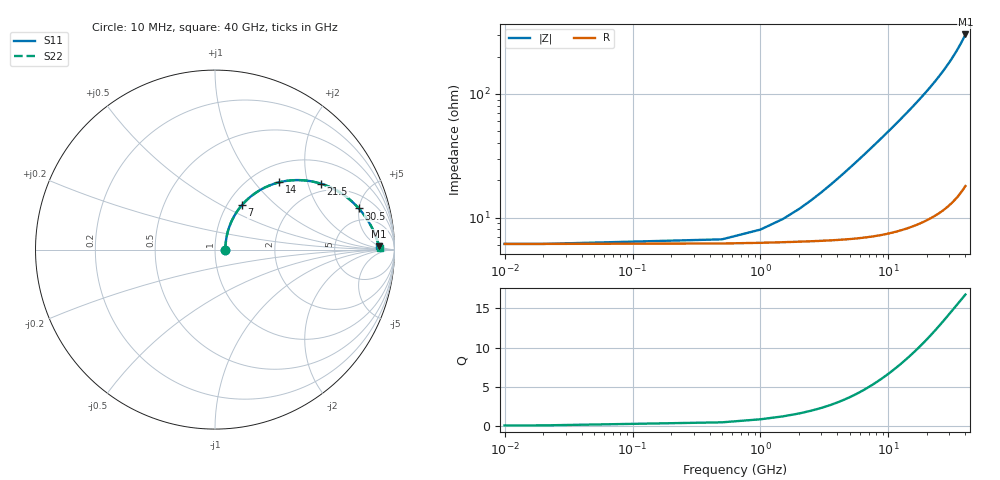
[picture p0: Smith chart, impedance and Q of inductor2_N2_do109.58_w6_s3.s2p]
#  GHZ S DB R 50
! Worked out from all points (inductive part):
!   82 points, 10 MHz to 40 GHz, reference 50 ohm
!   read as one part in series: L = 776 pH near 4.5 GHz
!   highest Q = 16.8 at 40 GHz (marker M1), where L = 1.2 nH
!   S11 on the Smith chart (normalised r, x): 10 MHz: 1.12, +0.00; 7 GHz: 1.17, +0.63; 14 GHz: 1.32, +1.35; 21.5 GHz: 1.71, +2.43; 30.5 GHz: 3.32, +4.98; 40 GHz: 21, +5
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0.01  -24.79 0.4  -0.52 -0.0  -0.52 -0.0  -24.79 0.4
0.5  -24.22 18.6  -0.52 -1.5  -0.52 -1.5  -24.22 18.6
1  -22.93 33.0  -0.54 -3.0  -0.54 -3.0  -22.91 33.1
2.5  -18.50 53.9  -0.61 -7.2  -0.61 -7.2  -18.47 53.9
3.5  -16.13 58.4  -0.67 -10.0  -0.67 -10.0  -16.10 58.4
5  -13.42 60.2  -0.79 -14.1  -0.79 -14.1  -13.39 60.2
6  -12.00 59.9  -0.88 -16.8  -0.88 -16.8  -11.97 59.8
7  -10.80 58.9  -0.99 -19.4  -0.99 -19.4  -10.78 58.8
8.5  -9.31 56.7  -1.17 -23.4  -1.17 -23.4  -9.29 56.6
10  -8.10 54.1  -1.39 -27.2  -1.39 -27.2  -8.07 54.0
11.5  -7.08 51.3  -1.63 -30.9  -1.63 -30.9  -7.05 51.2
13.5  -5.97 47.4  -1.99 -35.7  -1.99 -35.7  -5.94 47.3
14  -5.72 46.4  -2.09 -36.9  -2.09 -36.9  -5.70 46.3
17  -4.48 40.5  -2.72 -43.7  -2.72 -43.7  -4.46 40.3
20.5  -3.40 33.7  -3.56 -51.2  -3.56 -51.2  -3.38 33.5
21.5  -3.15 31.8  -3.81 -53.2  -3.81 -53.2  -3.12 31.6
24  -2.60 27.2  -4.49 -58.2  -4.49 -58.2  -2.57 27.0
27  -2.07 21.9  -5.37 -63.9  -5.37 -63.9  -2.04 21.6
30.5  -1.58 16.0  -6.50 -70.1  -6.50 -70.1  -1.56 15.6
33.5  -1.26 11.1  -7.55 -75.2  -7.55 -75.2  -1.23 10.7
36.5  -1.01 6.4  -8.68 -80.1  -8.68 -80.1  -0.98 6.0
40  -0.78 1.1  -10.14 -85.5  -10.14 -85.5  -0.75 0.6
